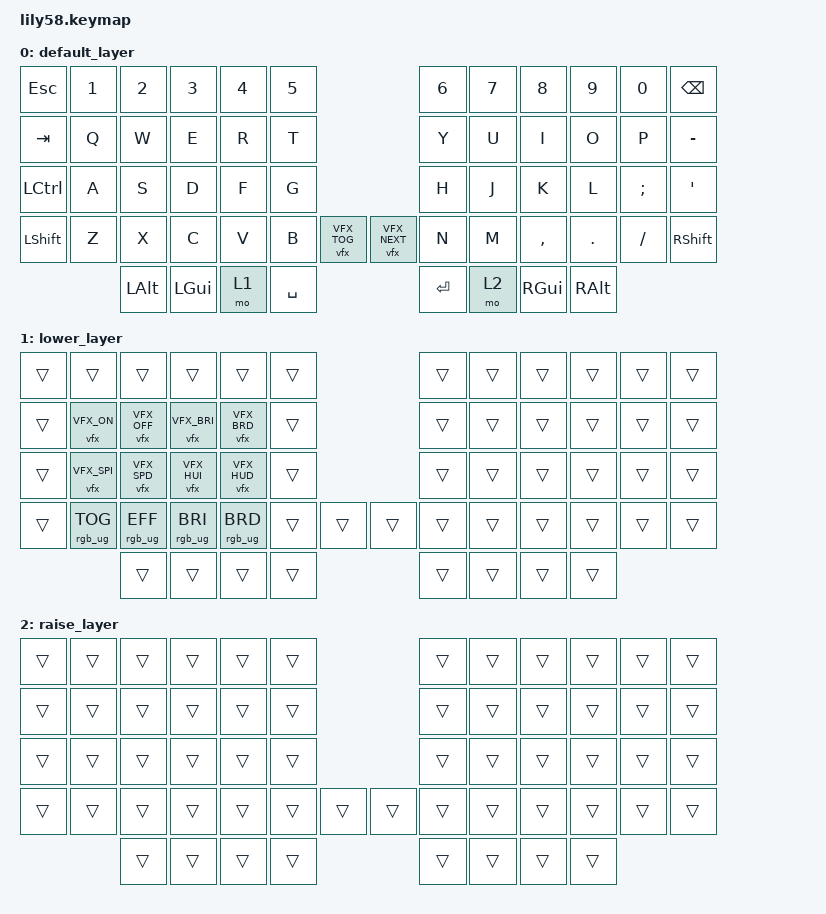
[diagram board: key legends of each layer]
/*
 * Minimal Lily58 keymap exercising the VFX module.
 *
 * Kept deliberately small: it exists so CI compiles the module against a real
 * ZMK build, and so the devicetree in the README has something to point at.
 */

#include <behaviors.dtsi>
#include <behaviors/vfx.dtsi>
#include <dt-bindings/zmk/keys.h>
/* The RGB_* constants for the &rgb_ug bindings below, which exercise the
 * compatibility shim. They are not pulled in by dt-bindings/zmk/vfx.h.
 */
#include <dt-bindings/zmk/rgb.h>
#include <dt-bindings/zmk/vfx.h>

/ {
    keymap {
        compatible = "zmk,keymap";

        default_layer {
            bindings = <
&kp ESC   &kp N1 &kp N2 &kp N3   &kp N4   &kp N5                              &kp N6 &kp N7   &kp N8    &kp N9  &kp N0   &kp BSPC
&kp TAB   &kp Q  &kp W  &kp E    &kp R    &kp T                               &kp Y  &kp U    &kp I     &kp O   &kp P    &kp MINUS
&kp LCTRL &kp A  &kp S  &kp D    &kp F    &kp G                               &kp H  &kp J    &kp K     &kp L   &kp SEMI &kp SQT
&kp LSHFT &kp Z  &kp X  &kp C    &kp V    &kp B  &vfx VFX_TOG   &vfx VFX_NEXT &kp N  &kp M    &kp COMMA &kp DOT &kp FSLH &kp RSHFT
                 &kp LALT &kp LGUI &mo 1  &kp SPACE                           &kp RET &mo 2   &kp RGUI  &kp RALT
            >;
        };

        /* Underglow controls. The &rgb_ug bindings work too, through the
         * compatibility shim, which is the point of keeping it.
         */
        lower_layer {
            bindings = <
&trans &trans      &trans      &trans      &trans      &trans                             &trans &trans &trans &trans &trans &trans
&trans &vfx VFX_ON &vfx VFX_OFF &vfx VFX_BRI &vfx VFX_BRD &trans                          &trans &trans &trans &trans &trans &trans
&trans &vfx VFX_SPI &vfx VFX_SPD &vfx VFX_HUI &vfx VFX_HUD &trans                         &trans &trans &trans &trans &trans &trans
&trans &rgb_ug RGB_TOG &rgb_ug RGB_EFF &rgb_ug RGB_BRI &rgb_ug RGB_BRD &trans &trans &trans &trans &trans &trans &trans &trans &trans
                    &trans &trans &trans &trans                                           &trans &trans &trans &trans
            >;
        };

        raise_layer {
            bindings = <
&trans &trans &trans &trans &trans &trans                      &trans &trans &trans &trans &trans &trans
&trans &trans &trans &trans &trans &trans                      &trans &trans &trans &trans &trans &trans
&trans &trans &trans &trans &trans &trans                      &trans &trans &trans &trans &trans &trans
&trans &trans &trans &trans &trans &trans &trans        &trans &trans &trans &trans &trans &trans &trans
              &trans &trans &trans &trans                      &trans &trans &trans &trans
            >;
        };
    };
};
